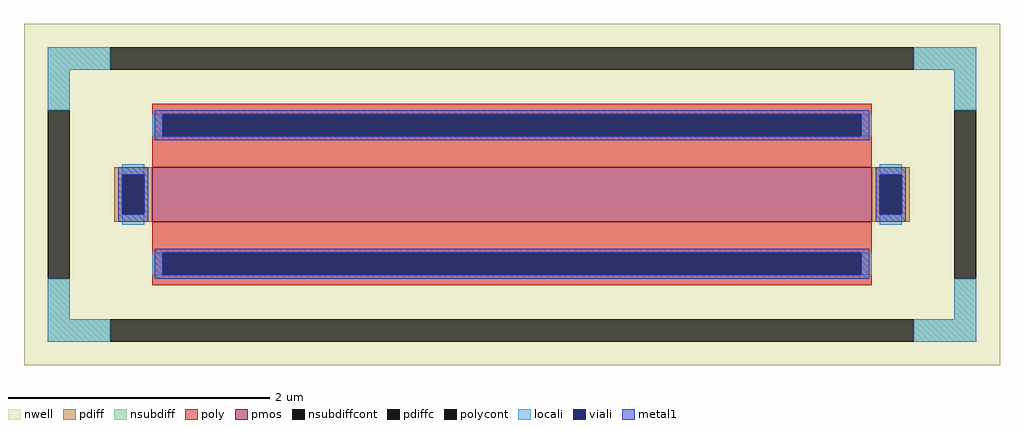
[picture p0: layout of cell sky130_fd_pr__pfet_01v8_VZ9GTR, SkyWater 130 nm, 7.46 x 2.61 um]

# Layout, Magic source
magic
tech sky130A
magscale 1 2
<< nwell >>
rect -746 -261 746 261
<< pmos >>
rect -550 -42 550 42
<< pdiff >>
rect -608 30 -550 42
rect -608 -30 -596 30
rect -562 -30 -550 30
rect -608 -42 -550 -30
rect 550 30 608 42
rect 550 -30 562 30
rect 596 -30 608 30
rect 550 -42 608 -30
<< pdiffc >>
rect -596 -30 -562 30
rect 562 -30 596 30
<< nsubdiff >>
rect -710 191 -614 225
rect 614 191 710 225
rect -710 129 -676 191
rect 676 129 710 191
rect -710 -191 -676 -129
rect 676 -191 710 -129
rect -710 -225 -614 -191
rect 614 -225 710 -191
<< nsubdiffcont >>
rect -614 191 614 225
rect -710 -129 -676 129
rect 676 -129 710 129
rect -614 -225 614 -191
<< poly >>
rect -550 123 550 139
rect -550 89 -534 123
rect 534 89 550 123
rect -550 42 550 89
rect -550 -89 550 -42
rect -550 -123 -534 -89
rect 534 -123 550 -89
rect -550 -139 550 -123
<< polycont >>
rect -534 89 534 123
rect -534 -123 534 -89
<< locali >>
rect -710 191 -614 225
rect 614 191 710 225
rect -710 129 -676 191
rect 676 129 710 191
rect -550 89 -534 123
rect 534 89 550 123
rect -596 30 -562 46
rect -596 -46 -562 -30
rect 562 30 596 46
rect 562 -46 596 -30
rect -550 -123 -534 -89
rect 534 -123 550 -89
rect -710 -191 -676 -129
rect 676 -191 710 -129
rect -710 -225 -614 -191
rect 614 -225 710 -191
<< viali >>
rect -534 89 534 123
rect -596 -30 -562 30
rect 562 -30 596 30
rect -534 -123 534 -89
<< metal1 >>
rect -546 123 546 129
rect -546 89 -534 123
rect 534 89 546 123
rect -546 83 546 89
rect -602 30 -556 42
rect -602 -30 -596 30
rect -562 -30 -556 30
rect -602 -42 -556 -30
rect 556 30 602 42
rect 556 -30 562 30
rect 596 -30 602 30
rect 556 -42 602 -30
rect -546 -89 546 -83
rect -546 -123 -534 -89
rect 534 -123 546 -89
rect -546 -129 546 -123
<< properties >>
string FIXED_BBOX -693 -208 693 208
string gencell sky130_fd_pr__pfet_01v8
string library sky130
string parameters w 0.42 l 5.5 m 1 nf 1 diffcov 100 polycov 100 guard 1 glc 1 grc 1 gtc 1 gbc 1 tbcov 100 rlcov 100 topc 1 botc 1 poverlap 0 doverlap 1 lmin 0.15 wmin 0.42 compatible {sky130_fd_pr__pfet_01v8  sky130_fd_pr__pfet_01v8_lvt sky130_fd_pr__pfet_01v8_hvt  sky130_fd_pr__pfet_g5v0d10v5} full_metal 1 viasrc 100 viadrn 100 viagate 100 viagb 0 viagr 0 viagl 0 viagt 0
<< end >>
